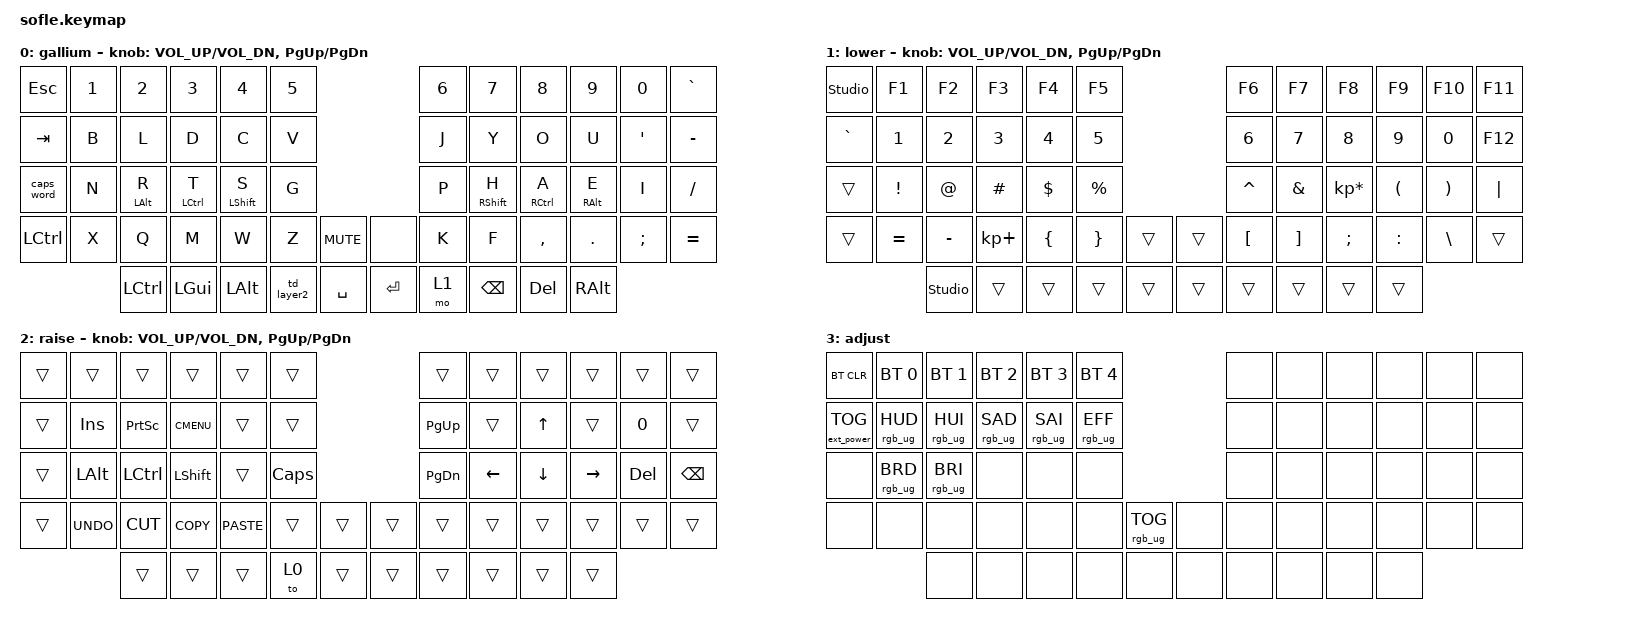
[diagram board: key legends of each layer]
/*
 * Copyright (c) 2020 The ZMK Contributors
 *
 * SPDX-License-Identifier: MIT
 */

#include <behaviors.dtsi>
#include <dt-bindings/zmk/bt.h>
#include <dt-bindings/zmk/ext_power.h>
#include <dt-bindings/zmk/keys.h>
#include <dt-bindings/zmk/rgb.h>
#include "sofle_key_labels.h"


#define BASE 0
#define LOWER 1
#define RAISE 2
#define ADJUST 3

/*
&mt {
    flavor = "tap-preferred";
    require-prior-idle-ms = <200>;
};
*/


&caps_word { 
    continue-list = <UNDERSCORE MINUS DELETE BACKSPACE>;
};


/ {
    
    behaviors {
        hml: hold_tap_l {
            compatible = "zmk,behavior-hold-tap";
            #binding-cells = <2>;
            flavor = "tap-preferred";
            tapping-term-ms = <200>;
            quick-tap-ms = <175>;
            require-prior-idle-ms = <200>;
            bindings = <&kp>, <&kp>;
            hold-trigger-key-positions = <KEYS_R>;
            hold-trigger-on-release;
        };
    };
    
    behaviors {
        hmr: hold_tap_r {
            compatible = "zmk,behavior-hold-tap";
            #binding-cells = <2>;
            flavor = "tap-preferred";
            tapping-term-ms = <200>;
            quick-tap-ms = <175>;
            require-prior-idle-ms = <200>;
            bindings = <&kp>, <&kp>;
            hold-trigger-key-positions = <KEYS_L>;
            hold-trigger-on-release;
        };


        td_layer2: td_layer2 {
            compatible = "zmk,behavior-tap-dance";
            label = "TD_LAYER2";
            #binding-cells = <0>;
            bindings = <&mo 2>, <&to 2>;

            tapping-term-ms = <150>;
        };

//        td_layer0: td_layer0 {
//            compatible = "zmk,behavior-tap-dance";
//            label = "TD_LAYER0";
//            #binding-cells = <0>;
//            tapping-term-ms = <150>;
//            bindings = <&mo 1>, <&to 0>;
//        };

    };

// Activate ADJUST layer by pressing raise and lower
    conditional_layers {
        compatible = "zmk,conditional-layers";

        adjust_layer {
            if-layers = <LOWER RAISE>;
            then-layer = <ADJUST>;
        };
    };

    combos {
        compatible = "zmk,combos";

        L_PRNTHS {
            bindings = <&kp LEFT_PARENTHESIS>;
            key-positions = <15 14>;
            timeout-ms = <25>;
            require-prior-idle-ms = <250>;
        };

        R_PRNTHS {
            bindings = <&kp RIGHT_PARENTHESIS>;
            key-positions = <16 15>;
            timeout-ms = <25>;
            require-prior-idle-ms = <250>;
        };

        L_SQRBRCKT {
            bindings = <&kp LEFT_BRACKET>;
            key-positions = <27 26>;
            timeout-ms = <25>;
            require-prior-idle-ms = <250>;
        };

        R_SQRBRCKT {
            bindings = <&kp RIGHT_BRACKET>;
            key-positions = <28 27>;
            timeout-ms = <25>;
            require-prior-idle-ms = <250>;
        };

        L_CRLBRKT {
            bindings = <&kp LEFT_BRACE>;
            key-positions = <39 38>;
            require-prior-idle-ms = <250>;
        };

        R_CRLBRKT {
            bindings = <&kp RIGHT_BRACE>;
            key-positions = <40 39>;
            require-prior-idle-ms = <250>;
        };
    };

    keymap {
        compatible = "zmk,keymap";

        default_layer {
            label = "gallium";

            // ------------------------------------------------------------------------------------------------------------
            // |   `   |  1  |  2  |  3   |  4   |  5   |                   |  6   |  7    |  8    |  9   |   0   |       |
            // |  ESC  |  Q  |  W  |  E   |  R   |  T   |                   |  Y   |  U    |  I    |  O   |   P   | BKSPC |
            // |  TAB  |  A  |  S  |  D   |  F   |  G   |                   |  H   |  J    |  K    |  L   |   ;   |   '   |
            // | SHIFT |  Z  |  X  |  C   |  V   |  B   |  MUTE  |  |       |  N   |  M    |  ,    |  .   |   /   | SHIFT |
            //               | GUI | ALT  | CTRL | LOWER|  ENTER |  | SPACE | RAISE| CTRL  | ALT   | GUI  |

            bindings = <
&kp ESC     &kp N1  &kp N2       &kp N3        &kp N4         &kp N5                             &kp N6      &kp N7         &kp N8        &kp N9            &kp N0         &kp GRAVE
&kp TAB     &kp B   &kp L        &kp D         &kp C          &kp V                              &kp J       &kp Y          &kp O         &kp U             &kp SQT        &kp MINUS
&caps_word  &kp N   &hml LALT R  &hml LCTRL T  &hml LSHIFT S  &kp G                              &kp P       &hmr RSHIFT H  &hmr RCTRL A  &hmr RIGHT_ALT E  &kp I          &kp SLASH
&kp LCTRL   &kp X   &kp Q        &kp M         &kp W          &kp Z       &kp K_MUTE  &none      &kp K       &kp F          &kp COMMA     &kp DOT           &kp SEMICOLON  &kp EQUAL
                    &kp LCTRL    &kp LEFT_GUI  &kp LALT       &td_layer2  &kp SPACE   &kp ENTER  &mo 1       &kp BACKSPACE  &kp DELETE    &kp RALT
            >;

            sensor-bindings = <&inc_dec_kp C_VOL_UP C_VOL_DN &inc_dec_kp PG_UP PG_DN>;
        };

        lower_layer {
            label = "lower";

            // TODO: Some binds are waiting for shifted keycode support.
            // ------------------------------------------------------------------------------------------------------------
            // |       |  F1 |  F2 |  F3  |  F4  |  F5  |                   |  F6  |  F7   |  F8   |  F9  |  F10  |  F11  |
            // |   `   |  1  |  2  |  3   |  4   |  5   |                   |  6   |  7    |  8    |  9   |   0   |  F12  |
            // |       |  !  |  @  |  #   |  $   |  %   |                   |  ^   |  &    |  *    |  (   |   )   |   |   |
            // |       |  =  |  -  |  +   |  {   |  }   |        |  |       |  [   |  ]    |  ;    |  :   |   \   |       |
            //               |     |      |      |      |        |  |       |      |       |       |      |

            bindings = <
&studio_unlock  &kp F1     &kp F2          &kp F3       &kp F4    &kp F5                        &kp F6     &kp F7    &kp F8           &kp F9     &kp F10   &kp F11
&kp GRAVE       &kp N1     &kp N2          &kp N3       &kp N4    &kp N5                        &kp N6     &kp N7    &kp N8           &kp N9     &kp N0    &kp F12
&trans          &kp EXCL   &kp AT          &kp HASH     &kp DLLR  &kp PRCNT                     &kp CARET  &kp AMPS  &kp KP_MULTIPLY  &kp LPAR   &kp RPAR  &kp PIPE
&trans          &kp EQUAL  &kp MINUS       &kp KP_PLUS  &kp LBRC  &kp RBRC   &trans    &trans   &kp LBKT   &kp RBKT  &kp SEMI         &kp COLON  &kp BSLH  &trans
                           &studio_unlock  &trans       &trans    &trans     &trans    &trans   &trans     &trans    &trans           &trans
            >;

            sensor-bindings = <&inc_dec_kp C_VOL_UP C_VOL_DN &inc_dec_kp PG_UP PG_DN>;
        };

        raise_layer {
            label = "raise";

            // ------------------------------------------------------------------------------------------------------------
            // |       |      |      |       |       |      |                |      |      |       |      |       |       |
            // |       | INS  | PSCR | GUI   |       |      |                | PGUP |      |   ^   |      |       |       |
            // |       | ALT  | CTRL | SHIFT |       | CAPS |                | PGDN |   <- |   v   |  ->  |  DEL  | BKSPC |
            // |       | UNDO | CUT  | COPY  | PASTE |      |      |  |      |      |      |       |      |       |       |
            //                |      |       |       |      |      |  |      |      |      |       |      |

            bindings = <
&trans      &trans        &trans        &trans        &trans        &trans                           &trans     &trans    &trans    &trans     &trans   &trans
&trans      &kp INS       &kp PSCRN     &kp K_CMENU   &trans        &trans                           &kp PG_UP  &trans    &kp UP    &trans     &kp N0   &trans
&trans      &kp LALT      &kp LCTRL     &kp LSHFT     &trans        &kp CLCK                         &kp PG_DN  &kp LEFT  &kp DOWN  &kp RIGHT  &kp DEL  &kp BSPC
&trans      &kp K_UNDO    &kp K_CUT     &kp K_COPY    &kp K_PASTE   &trans        &trans    &trans   &trans     &trans    &trans    &trans     &trans   &trans
                          &trans        &trans        &trans        &to 0         &trans    &trans   &trans     &trans    &trans    &trans
            >;

            sensor-bindings = <&inc_dec_kp C_VOL_UP C_VOL_DN &inc_dec_kp PG_UP PG_DN>;
        };

        adjust_layer {
            // ----------------------------------------------------------------------------------------------------------------------------
            // | BTCLR  |  BT1    |  BT2    |   BT3   |   BT4   |   BT5   |                  |      |      |       |      |       |       |
            // | EXTPWR | RGB_HUD | RGB_HUI | RGB_SAD | RGB_SAI | RGB_EFF |                  |      |      |       |      |       |       |
            // |        | RGB_BRD | RGB_BRI |         |         |         |                  |      |      |       |      |       |       |
            // |        |         |         |         |         |         | RGB_TOG | |      |      |      |       |      |       |       |
            //                    |         |         |         |         |         | |      |      |      |       |      |

            label = "adjust";
            bindings = <
&bt BT_CLR         &bt BT_SEL 0     &bt BT_SEL 1     &bt BT_SEL 2     &bt BT_SEL 3     &bt BT_SEL 4                               &none  &none  &none  &none  &none  &none
&ext_power EP_TOG  &rgb_ug RGB_HUD  &rgb_ug RGB_HUI  &rgb_ug RGB_SAD  &rgb_ug RGB_SAI  &rgb_ug RGB_EFF                            &none  &none  &none  &none  &none  &none
&none              &rgb_ug RGB_BRD  &rgb_ug RGB_BRI  &none            &none            &none                                      &none  &none  &none  &none  &none  &none
&none              &none            &none            &none            &none            &none            &rgb_ug RGB_TOG    &none  &none  &none  &none  &none  &none  &none
                                    &none            &none            &none            &none            &none              &none  &none  &none  &none  &none
            >;
        };
    };
};
